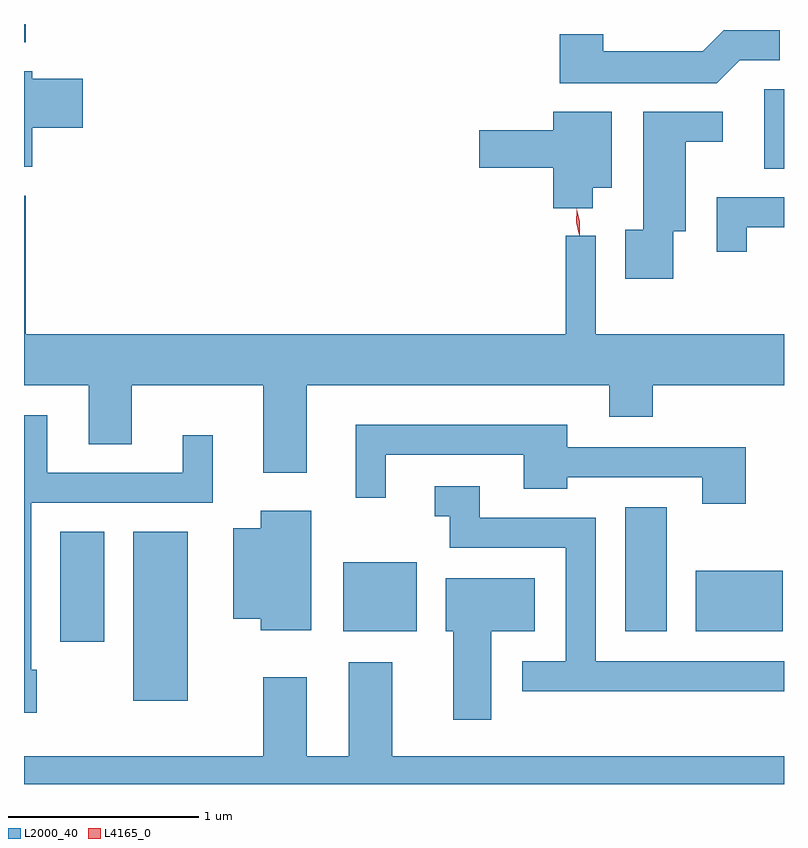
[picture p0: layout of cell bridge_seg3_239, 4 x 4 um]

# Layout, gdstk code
import gdstk
lib = gdstk.Library(unit=1e-6, precision=1e-09)
def R(c, l, rs):  # rectangles x0, y0, x1, y1
    for r in rs: c.add(gdstk.rectangle(r[:2], r[2:], *l))
def P(c, l, *ps):  # polygons
    for p in ps: c.add(gdstk.Polygon(p, *l))
L2000_40 = (2000, 40)
L4165_0 = (4165, 0)

bridge_seg3_239 = lib.new_cell('bridge_seg3_239')
R(bridge_seg3_239, L2000_40, [(961.956,1126.576,962.244,1127.464), (961.571,1126.886,961.804,1127.464), (963.061,1126.941,963.449,1127.304), (964.546,1126.941,964.764,1127.594), (964.916,1126.941,965.374,1127.259), (965.276,1129.376,965.381,1129.794), (961.381,1130.041,961.389,1130.137)])
P(bridge_seg3_239, L2000_40, [(965.147,1129.946),(965.358,1129.946),(965.358,1130.104),(965.064,1130.104),(964.954,1129.994),(964.429,1129.994),(964.429,1130.084),(964.201,1130.084),(964.201,1129.826),(965.027,1129.826)],
  [(961.424,1129.591),(961.689,1129.591),(961.689,1129.849),(961.424,1129.849),(961.424,1129.889),(961.381,1129.889),(961.381,1129.386),(961.424,1129.386)],
  [(964.799,1129.046),(964.864,1129.046),(964.864,1129.516),(965.058,1129.516),(965.058,1129.674),(964.641,1129.674),(964.641,1129.054),(964.546,1129.054),(964.546,1128.796),(964.799,1128.796)],
  [(964.374,1129.276),(964.474,1129.276),(964.474,1129.674),(964.166,1129.674),(964.166,1129.579),(963.776,1129.579),(963.776,1129.381),(964.166,1129.381),(964.166,1129.166),(964.374,1129.166)],
  [(962.869,1128.236),(964.461,1128.236),(964.461,1128.071),(964.689,1128.071),(964.689,1128.236),(965.381,1128.236),(965.381,1128.504),(964.389,1128.504),(964.389,1129.023),(964.231,1129.023),(964.231,1128.504),(961.389,1128.504),(961.389,1129.234),(961.381,1129.234),(961.381,1128.236),(961.721,1128.236),(961.721,1127.926),(961.949,1127.926),(961.949,1128.236),(962.641,1128.236),(962.641,1127.776),(962.869,1127.776)],
  [(965.184,1129.066),(965.381,1129.066),(965.381,1129.224),(965.026,1129.224),(965.026,1128.938),(965.184,1128.938)],
  [(961.449,1126.739),(961.419,1126.739),(961.419,1127.616),(962.374,1127.616),(962.374,1127.973),(962.216,1127.973),(962.216,1127.774),(961.504,1127.774),(961.504,1128.079),(961.381,1128.079),(961.381,1126.511),(961.449,1126.511)],
  [(965.179,1127.909),(964.239,1127.909),(964.239,1128.029),(963.126,1128.029),(963.126,1127.643),(963.284,1127.643),(963.284,1127.871),(964.011,1127.871),(964.011,1127.691),(964.239,1127.691),(964.239,1127.751),(964.951,1127.751),(964.951,1127.611),(965.179,1127.611)],
  [(965.381,1126.784),(964.389,1126.784),(964.389,1127.539),(963.779,1127.539),(963.779,1127.704),(963.543,1127.704),(963.543,1127.546),(963.621,1127.546),(963.621,1127.381),(964.231,1127.381),(964.231,1126.784),(964.003,1126.784),(964.003,1126.626),(965.381,1126.626)],
  [(962.894,1127.574),(962.626,1127.574),(962.626,1127.484),(962.481,1127.484),(962.481,1127.006),(962.626,1127.006),(962.626,1126.946),(962.894,1126.946)],
  [(963.839,1126.941),(964.069,1126.941),(964.069,1127.219),(963.601,1127.219),(963.601,1126.941),(963.641,1126.941),(963.641,1126.476),(963.839,1126.476)],
  [(965.381,1126.284),(963.319,1126.284),(963.319,1126.779),(963.091,1126.779),(963.091,1126.284),(962.869,1126.284),(962.869,1126.699),(962.641,1126.699),(962.641,1126.284),(961.381,1126.284),(961.381,1126.137),(965.381,1126.137)])
P(bridge_seg3_239, L4165_0, [(964.304,1129.025),(964.304,1129.025),(964.288,1129.093),(964.29,1129.163),(964.291,1129.164),(964.291,1129.163),(964.307,1129.095),(964.305,1129.025)])

lib.write_gds('bridge_seg3_239.gds')
